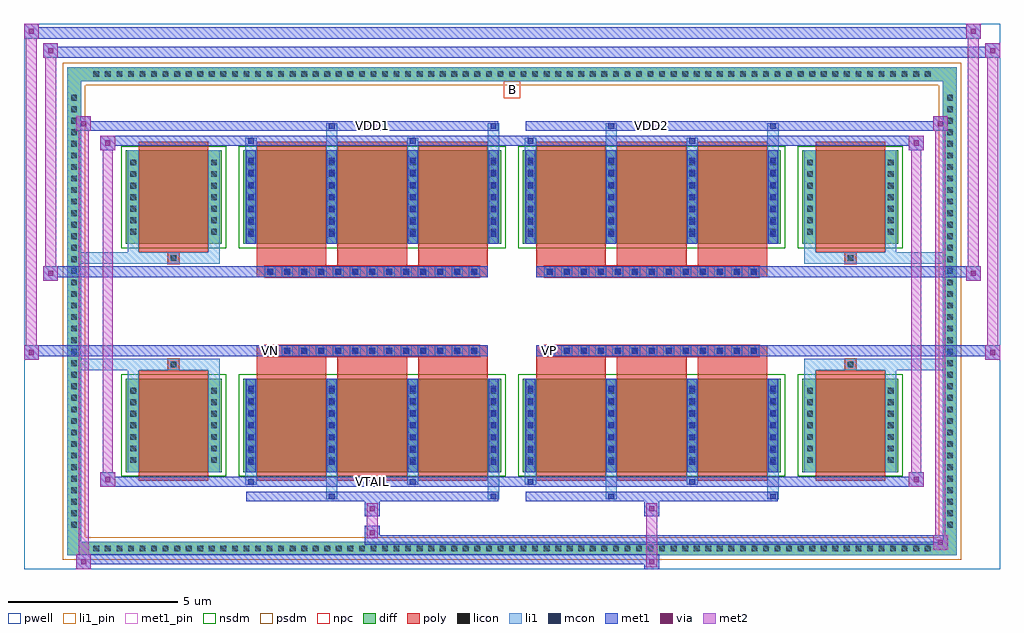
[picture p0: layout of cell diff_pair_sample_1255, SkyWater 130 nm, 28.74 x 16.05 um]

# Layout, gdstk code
import gdstk
lib = gdstk.Library(unit=1e-6, precision=5e-09)
def R(c, l, rs):  # rectangles x0, y0, x1, y1
    for r in rs: c.add(gdstk.rectangle(r[:2], r[2:], *l))
def A(c, l, x, y, w, h, nx, ny, dx, dy):  # array of equal rectangles
    R(c, l, [(x+i*dx, y+j*dy, x+i*dx+w, y+j*dy+h) for i in range(nx) for j in range(ny)])
def P(c, l, *ps):  # polygons
    for p in ps: c.add(gdstk.Polygon(p, *l))
pwell = (64, 44)
diff = (65, 20)
poly = (66, 20)
licon = (66, 44)
li1_pin = (67, 16)
li1 = (67, 20)
mcon = (67, 44)
met1_pin = (68, 16)
met1 = (68, 20)
via = (68, 44)
met2 = (69, 20)
nsdm = (93, 44)
psdm = (94, 20)
npc = (95, 20)

diff_pair_sample_1255 = lib.new_cell('diff_pair_sample_1255')
R(diff_pair_sample_1255, pwell, [(-14.37,-7.59,14.37,8.46), (-11.69,-5.78,-0.01,-0.8), (0.01,-5.78,11.69,-0.8), (-11.69,0.8,-0.01,5.78), (0.01,0.8,11.69,5.78)])
A(diff_pair_sample_1255, diff, -12.445, -7.19, 0.41, 0.41, 73, 2, 0.34, 13.97)
A(diff_pair_sample_1255, diff, -13.1, -6.495, 0.41, 0.41, 1, 38, 0, 0.34)
A(diff_pair_sample_1255, diff, 12.69, -6.495, 0.41, 0.41, 1, 38, 0, 0.34)
R(diff_pair_sample_1255, diff, [(-12.445,-7.19,12.445,-6.78), (-13.1,-6.495,-12.69,6.495), (12.69,-6.495,13.1,6.495), (-11.38,-4.735,-8.55,-1.985), (-7.91,-4.735,-0.32,-1.985), (0.32,-4.735,7.91,-1.985), (8.55,-4.735,11.38,-1.985), (-11.38,1.985,-8.55,4.735), (-7.91,1.985,-0.32,4.735), (0.32,1.985,7.91,4.735), (8.55,1.985,11.38,4.735), (-12.445,6.78,12.445,7.19)])
P(diff_pair_sample_1255, diff, [(13.1,7.19),(-13.1,7.19),(-13.1,-6.78),(-12.69,-6.78),(-12.69,6.78),(12.69,6.78),(12.69,-6.78),(-12.69,-6.78),(-13.1,-6.78),(-13.1,-7.19),(13.1,-7.19)])
A(diff_pair_sample_1255, poly, -7.52, -4.985, 2.05, 3.25, 3, 2, 2.38, 6.72)
A(diff_pair_sample_1255, poly, 0.71, -4.985, 2.05, 3.25, 3, 2, 2.38, 6.72)
A(diff_pair_sample_1255, poly, -7.52, -1.735, 2.05, 0.405, 3, 2, 2.38, 3.065)
A(diff_pair_sample_1255, poly, 0.71, -1.735, 2.05, 0.405, 3, 2, 2.38, 3.065)
A(diff_pair_sample_1255, poly, -7.28, -1.33, 0.33, 0.33, 13, 2, 0.5, 2.33)
A(diff_pair_sample_1255, poly, 0.95, -1.33, 0.33, 0.33, 13, 2, 0.5, 2.33)
R(diff_pair_sample_1255, poly, [(-10.99,-4.985,-8.94,-1.735), (8.94,-4.985,10.99,-1.735), (-10.13,-1.735,-9.8,-1.405), (-10.13,-1.735,-9.8,-1.405), (9.8,-1.735,10.13,-1.405), (9.8,-1.735,10.13,-1.405), (-7.52,-1.33,-0.71,-1), (0.71,-1.33,7.52,-1), (-7.52,1,-0.71,1.33), (0.71,1,7.52,1.33), (-10.13,1.405,-9.8,1.735), (-10.13,1.405,-9.8,1.735), (9.8,1.405,10.13,1.735), (9.8,1.405,10.13,1.735), (-10.99,1.735,-8.94,4.985), (8.94,1.735,10.99,4.985)])
A(diff_pair_sample_1255, licon, -12.325, -7.07, 0.17, 0.17, 73, 2, 0.34, 13.97)
A(diff_pair_sample_1255, licon, -12.98, -6.375, 0.17, 0.17, 1, 38, 0, 0.34)
A(diff_pair_sample_1255, licon, 12.81, -6.375, 0.17, 0.17, 1, 38, 0, 0.34)
A(diff_pair_sample_1255, licon, -11.24, -4.465, 0.17, 0.17, 1, 7, 0, 0.34)
A(diff_pair_sample_1255, licon, -8.86, -4.465, 0.17, 0.17, 1, 7, 0, 0.34)
A(diff_pair_sample_1255, licon, -7.77, -4.465, 0.17, 0.17, 4, 7, 2.38, 0.34)
A(diff_pair_sample_1255, licon, 0.46, -4.465, 0.17, 0.17, 4, 7, 2.38, 0.34)
A(diff_pair_sample_1255, licon, 8.69, -4.465, 0.17, 0.17, 1, 7, 0, 0.34)
A(diff_pair_sample_1255, licon, 11.07, -4.465, 0.17, 0.17, 1, 7, 0, 0.34)
A(diff_pair_sample_1255, licon, -7.2, -1.25, 0.17, 0.17, 13, 2, 0.5, 2.33)
A(diff_pair_sample_1255, licon, 1.03, -1.25, 0.17, 0.17, 13, 2, 0.5, 2.33)
A(diff_pair_sample_1255, licon, -11.24, 2.255, 0.17, 0.17, 1, 7, 0, 0.34)
A(diff_pair_sample_1255, licon, -8.86, 2.255, 0.17, 0.17, 1, 7, 0, 0.34)
A(diff_pair_sample_1255, licon, -7.77, 2.255, 0.17, 0.17, 4, 7, 2.38, 0.34)
A(diff_pair_sample_1255, licon, 0.46, 2.255, 0.17, 0.17, 4, 7, 2.38, 0.34)
A(diff_pair_sample_1255, licon, 8.69, 2.255, 0.17, 0.17, 1, 7, 0, 0.34)
A(diff_pair_sample_1255, licon, 11.07, 2.255, 0.17, 0.17, 1, 7, 0, 0.34)
R(diff_pair_sample_1255, licon, [(-10.05,-1.655,-9.88,-1.485), (9.88,-1.655,10.05,-1.485), (-10.05,1.485,-9.88,1.655), (9.88,1.485,10.05,1.655)])
R(diff_pair_sample_1255, li1_pin, [(-0.25,6.28,0.25,6.78)])
A(diff_pair_sample_1255, li1, -12.405, -7.15, 0.33, 0.33, 73, 2, 0.34, 13.97)
A(diff_pair_sample_1255, li1, -13.06, -6.455, 0.33, 0.33, 1, 38, 0, 0.34)
A(diff_pair_sample_1255, li1, 12.73, -6.455, 0.33, 0.33, 1, 38, 0, 0.34)
A(diff_pair_sample_1255, li1, -7.85, -4.735, 0.33, 2.75, 4, 2, 2.38, 6.72)
A(diff_pair_sample_1255, li1, 0.38, -4.735, 0.33, 2.75, 4, 2, 2.38, 6.72)
A(diff_pair_sample_1255, li1, -11.32, -4.545, 0.33, 0.33, 1, 7, 0, 0.34)
A(diff_pair_sample_1255, li1, -8.94, -4.545, 0.33, 0.33, 1, 7, 0, 0.34)
A(diff_pair_sample_1255, li1, -7.85, -4.545, 0.33, 0.33, 4, 7, 2.38, 0.34)
A(diff_pair_sample_1255, li1, 0.38, -4.545, 0.33, 0.33, 4, 7, 2.38, 0.34)
A(diff_pair_sample_1255, li1, 8.61, -4.545, 0.33, 0.33, 1, 7, 0, 0.34)
A(diff_pair_sample_1255, li1, 10.99, -4.545, 0.33, 0.33, 1, 7, 0, 0.34)
A(diff_pair_sample_1255, li1, -7.77, -4.525, 0.17, 0.17, 4, 7, 2.38, 0.36)
A(diff_pair_sample_1255, li1, -7.77, -4.525, 0.17, 2.33, 4, 2, 2.38, 6.72)
A(diff_pair_sample_1255, li1, 0.46, -4.525, 0.17, 0.17, 4, 7, 2.38, 0.36)
A(diff_pair_sample_1255, li1, 0.46, -4.525, 0.17, 2.33, 4, 2, 2.38, 6.72)
A(diff_pair_sample_1255, li1, -7.28, -1.33, 0.33, 0.33, 13, 2, 0.5, 2.33)
A(diff_pair_sample_1255, li1, 0.95, -1.33, 0.33, 0.33, 13, 2, 0.5, 2.33)
A(diff_pair_sample_1255, li1, -11.32, 2.175, 0.33, 0.33, 1, 7, 0, 0.34)
A(diff_pair_sample_1255, li1, -8.94, 2.175, 0.33, 0.33, 1, 7, 0, 0.34)
A(diff_pair_sample_1255, li1, -7.85, 2.175, 0.33, 0.33, 4, 7, 2.38, 0.34)
A(diff_pair_sample_1255, li1, 0.38, 2.175, 0.33, 0.33, 4, 7, 2.38, 0.34)
A(diff_pair_sample_1255, li1, 8.61, 2.175, 0.33, 0.33, 1, 7, 0, 0.34)
A(diff_pair_sample_1255, li1, 10.99, 2.175, 0.33, 0.33, 1, 7, 0, 0.34)
A(diff_pair_sample_1255, li1, -7.77, 2.195, 0.17, 0.17, 4, 7, 2.38, 0.36)
A(diff_pair_sample_1255, li1, 0.46, 2.195, 0.17, 0.17, 4, 7, 2.38, 0.36)
R(diff_pair_sample_1255, li1, [(-13.1,-7.19,-12.69,-6.78), (-13.1,-7.19,-12.69,-6.78), (-12.69,-7.19,12.69,-6.78), (12.69,-7.19,13.1,-6.78), (12.69,-7.19,13.1,-6.78), (-13.1,-6.78,-12.69,6.78), (12.69,-6.78,13.1,6.78), (-5.47,-5.54,-5.14,-4.735), (-5.39,-5.54,-5.22,-5.37), (-0.71,-5.54,-0.38,-4.735), (-0.63,-5.54,-0.46,-5.37), (2.76,-5.54,3.09,-4.735), (2.84,-5.54,3.01,-5.37), (7.52,-5.54,7.85,-4.735), (7.6,-5.54,7.77,-5.37), (-7.85,-5.11,-7.52,-4.735), (-7.77,-5.11,-7.6,-4.94), (-3.09,-5.11,-2.76,-4.735), (-3.01,-5.11,-2.84,-4.94), (0.38,-5.11,0.71,-4.735), (0.46,-5.11,0.63,-4.94), (5.14,-5.11,5.47,-4.735), (5.22,-5.11,5.39,-4.94), (-11.32,-4.735,-10.99,-1.985), (-8.94,-4.735,-8.61,-1.985), (8.61,-4.735,8.94,-1.985), (10.99,-4.735,11.32,-1.985), (-11.32,-1.985,-10.99,-1.405), (-8.94,-1.985,-8.61,-1.405), (8.61,-1.985,8.94,-1.405), (10.99,-1.985,11.32,-1.405), (-13.1,-1.735,-10.13,-1.405), (-11.32,-1.735,-10.13,-1.405), (-10.13,-1.735,-9.8,-1.405), (-9.8,-1.735,-8.61,-1.405), (8.61,-1.735,9.8,-1.405), (9.8,-1.735,10.13,-1.405), (9.8,-1.735,13.1,-1.405), (10.13,-1.735,11.32,-1.405), (-13.1,1.405,-10.13,1.735), (-11.32,1.405,-10.13,1.735), (-11.32,1.405,-10.99,1.985), (-10.13,1.405,-9.8,1.735), (-9.8,1.405,-8.61,1.735), (-8.94,1.405,-8.61,1.985), (8.61,1.405,9.8,1.735), (8.61,1.405,8.94,1.985), (9.8,1.405,10.13,1.735), (9.8,1.405,13.1,1.735), (10.13,1.405,11.32,1.735), (10.99,1.405,11.32,1.985), (-11.32,1.985,-10.99,4.735), (-8.94,1.985,-8.61,4.735), (8.61,1.985,8.94,4.735), (10.99,1.985,11.32,4.735), (-7.85,4.735,-7.52,5.11), (-5.47,4.735,-5.14,5.54), (-3.09,4.735,-2.76,5.11), (-0.71,4.735,-0.38,5.54), (0.38,4.735,0.71,5.11), (2.76,4.735,3.09,5.54), (5.14,4.735,5.47,5.11), (7.52,4.735,7.85,5.54), (-7.77,4.94,-7.6,5.11), (-3.01,4.94,-2.84,5.11), (0.46,4.94,0.63,5.11), (5.22,4.94,5.39,5.11), (-5.39,5.37,-5.22,5.54), (-0.63,5.37,-0.46,5.54), (2.84,5.37,3.01,5.54), (7.6,5.37,7.77,5.54), (-13.1,6.78,-12.69,7.19), (-13.1,6.78,-12.69,7.19), (-12.69,6.78,12.69,7.19), (12.69,6.78,13.1,7.19), (12.69,6.78,13.1,7.19)])
A(diff_pair_sample_1255, mcon, -7.77, -4.525, 0.17, 0.17, 4, 7, 2.38, 0.36)
A(diff_pair_sample_1255, mcon, 0.46, -4.525, 0.17, 0.17, 4, 7, 2.38, 0.36)
A(diff_pair_sample_1255, mcon, -7.2, -1.25, 0.17, 0.17, 13, 2, 0.5, 2.33)
A(diff_pair_sample_1255, mcon, 1.03, -1.25, 0.17, 0.17, 13, 2, 0.5, 2.33)
A(diff_pair_sample_1255, mcon, -7.77, 2.195, 0.17, 0.17, 4, 7, 2.38, 0.36)
A(diff_pair_sample_1255, mcon, 0.46, 2.195, 0.17, 0.17, 4, 7, 2.38, 0.36)
R(diff_pair_sample_1255, mcon, [(-5.39,-5.54,-5.22,-5.37), (-0.63,-5.54,-0.46,-5.37), (2.84,-5.54,3.01,-5.37), (7.6,-5.54,7.77,-5.37), (-7.77,-5.11,-7.6,-4.94), (-3.01,-5.11,-2.84,-4.94), (0.46,-5.11,0.63,-4.94), (5.22,-5.11,5.39,-4.94), (-7.77,4.94,-7.6,5.11), (-3.01,4.94,-2.84,5.11), (0.46,4.94,0.63,5.11), (5.22,4.94,5.39,5.11), (-5.39,5.37,-5.22,5.54), (-0.63,5.37,-0.46,5.54), (2.84,5.37,3.01,5.54), (7.6,5.37,7.77,5.54)])
R(diff_pair_sample_1255, met1_pin, [(-4.25,-5.15,-3.98,-4.88), (-7.25,-1.29,-6.98,-1.02), (0.98,-1.29,1.25,-1.02), (-4.25,5.33,-3.98,5.6), (3.98,5.33,4.25,5.6)])
A(diff_pair_sample_1255, met1, -7.83, -4.735, 0.29, 2.75, 4, 2, 2.38, 6.72)
A(diff_pair_sample_1255, met1, 0.4, -4.735, 0.29, 2.75, 4, 2, 2.38, 6.72)
A(diff_pair_sample_1255, met1, -7.83, -4.585, 0.29, 0.29, 4, 7, 2.38, 0.36)
A(diff_pair_sample_1255, met1, 0.4, -4.585, 0.29, 0.29, 4, 7, 2.38, 0.36)
A(diff_pair_sample_1255, met1, -7.26, -1.31, 0.29, 0.29, 13, 2, 0.5, 2.33)
A(diff_pair_sample_1255, met1, 0.97, -1.31, 0.29, 0.29, 13, 2, 0.5, 2.33)
A(diff_pair_sample_1255, met1, -7.83, 2.135, 0.29, 0.29, 4, 7, 2.38, 0.36)
A(diff_pair_sample_1255, met1, 0.4, 2.135, 0.29, 0.29, 4, 7, 2.38, 0.36)
R(diff_pair_sample_1255, met1, [(-12.83,-7.59,-12.4,-7.16), (3.9,-7.59,4.33,-7.16), (-12.83,-7.45,4.33,-7.16), (12.4,-7.02,12.83,-6.59), (-4.33,-6.88,12.83,-6.59), (-4.33,-6.74,-3.9,-6.31), (-4.33,-6.03,-3.9,-5.6), (3.9,-6.03,4.33,-5.6), (-7.83,-5.6,-0.4,-5.31), (-5.45,-5.6,-5.16,-5.31), (-0.69,-5.6,-0.4,-5.31), (0.4,-5.6,7.83,-5.31), (2.78,-5.6,3.07,-5.31), (7.54,-5.6,7.83,-5.31), (-12.12,-5.17,-11.69,-4.74), (-12.12,-5.17,-7.83,-4.88), (-7.83,-5.17,-7.54,-4.88), (-7.83,-5.17,-0.4,-4.88), (-3.07,-5.17,-2.78,-4.88), (-0.4,-5.17,0.4,-4.88), (0.4,-5.17,0.69,-4.88), (0.4,-5.17,7.83,-4.88), (5.16,-5.17,5.45,-4.88), (7.83,-5.17,12.12,-4.88), (11.69,-5.17,12.12,-4.74), (-14.37,-1.43,-13.94,-1), (13.94,-1.43,14.37,-1), (-14.37,-1.33,-0.71,-1), (-7.52,-1.33,-0.71,-1), (0.71,-1.33,7.52,-1), (0.71,-1.33,14.37,-1), (-13.8,0.9,-13.37,1.33), (13.37,0.9,13.8,1.33), (-13.8,1,-7.52,1.33), (-7.52,1,-0.71,1.33), (0.71,1,7.52,1.33), (7.52,1,13.8,1.33), (-12.12,4.74,-11.69,5.17), (11.69,4.74,12.12,5.17), (-12.12,4.88,-7.83,5.17), (-7.83,4.88,-7.54,5.17), (-7.83,4.88,-0.4,5.17), (-3.07,4.88,-2.78,5.17), (-0.4,4.88,0.4,5.17), (0.4,4.88,0.69,5.17), (0.4,4.88,7.83,5.17), (5.16,4.88,5.45,5.17), (7.83,4.88,12.12,5.17), (-12.83,5.31,-12.4,5.74), (-12.83,5.31,-7.83,5.6), (-7.83,5.31,-0.4,5.6), (-5.45,5.31,-5.16,5.6), (-0.69,5.31,-0.4,5.6), (0.4,5.31,7.83,5.6), (2.78,5.31,3.07,5.6), (7.54,5.31,7.83,5.6), (7.83,5.31,12.83,5.6), (12.4,5.31,12.83,5.74), (-13.8,7.46,-13.37,7.89), (-13.8,7.46,-11.69,7.79), (-11.69,7.46,11.69,7.79), (11.69,7.46,14.37,7.79), (13.94,7.46,14.37,7.89), (-14.37,8.03,-13.94,8.46), (-14.37,8.03,-11.69,8.36), (-11.69,8.03,11.69,8.36), (11.69,8.03,13.8,8.36), (13.37,8.03,13.8,8.46)])
R(diff_pair_sample_1255, via, [(-12.69,-7.45,-12.54,-7.3), (4.04,-7.45,4.19,-7.3), (12.54,-6.88,12.69,-6.73), (-4.19,-6.6,-4.04,-6.45), (-4.19,-5.89,-4.04,-5.74), (4.04,-5.89,4.19,-5.74), (-11.98,-5.03,-11.83,-4.88), (11.83,-5.03,11.98,-4.88), (-14.23,-1.29,-14.08,-1.14), (14.08,-1.29,14.23,-1.14), (-13.66,1.04,-13.51,1.19), (13.51,1.04,13.66,1.19), (-11.98,4.88,-11.83,5.03), (11.83,4.88,11.98,5.03), (-12.69,5.45,-12.54,5.6), (12.54,5.45,12.69,5.6), (-13.66,7.6,-13.51,7.75), (14.08,7.6,14.23,7.75), (-14.23,8.17,-14.08,8.32), (13.51,8.17,13.66,8.32)])
R(diff_pair_sample_1255, met2, [(-12.83,-7.59,-12.4,-7.16), (-12.76,-7.59,-12.47,5.74), (-12.47,-7.59,-12.4,-7.16), (-12.78,-7.54,-12.45,-7.21), (3.95,-7.54,4.28,-7.21), (3.95,-7.21,4.28,-5.98), (12.4,-7.02,12.83,-6.59), (12.47,-7.02,12.76,5.74), (12.76,-7.02,12.83,-6.59), (12.45,-6.97,12.78,-6.64), (-4.28,-6.69,-3.95,-6.36), (-4.28,-6.36,-3.95,-5.98), (-4.28,-5.98,-3.95,-5.65), (3.95,-5.98,4.28,-5.65), (-12.12,-5.17,-11.69,-4.74), (-12.05,-5.17,-11.76,5.17), (-11.76,-5.17,-11.69,-4.74), (11.69,-5.17,12.12,-4.74), (11.76,-5.17,12.05,5.17), (12.05,-5.17,12.12,-4.74), (-12.07,-5.12,-11.74,-4.79), (11.74,-5.12,12.07,-4.79), (-14.37,-1.43,-13.94,-1), (-14.32,-1.43,-13.99,8.46), (-13.99,-1.43,-13.94,-1), (13.94,-1.43,14.37,-1), (13.99,-1.43,14.32,7.89), (14.32,-1.43,14.37,-1), (-14.32,-1.38,-13.99,-1.05), (13.99,-1.38,14.32,-1.05), (-13.8,0.9,-13.37,1.33), (-13.75,0.9,-13.42,7.89), (-13.42,0.9,-13.37,1.33), (13.37,0.9,13.8,1.33), (13.42,0.9,13.75,8.46), (13.75,0.9,13.8,1.33), (-13.75,0.95,-13.42,1.28), (13.42,0.95,13.75,1.28), (-12.12,4.74,-11.69,5.17), (-11.76,4.74,-11.69,5.17), (11.69,4.74,12.12,5.17), (12.05,4.74,12.12,5.17), (-12.07,4.79,-11.74,5.12), (11.74,4.79,12.07,5.12), (-12.83,5.31,-12.4,5.74), (-12.47,5.31,-12.4,5.74), (12.4,5.31,12.83,5.74), (12.76,5.31,12.83,5.74), (-12.78,5.36,-12.45,5.69), (12.45,5.36,12.78,5.69), (-13.8,7.46,-13.37,7.89), (-13.42,7.46,-13.37,7.89), (13.94,7.46,14.37,7.89), (14.32,7.46,14.37,7.89), (-13.75,7.51,-13.42,7.84), (13.99,7.51,14.32,7.84), (-14.37,8.03,-13.94,8.46), (-13.99,8.03,-13.94,8.46), (13.37,8.03,13.8,8.46), (13.75,8.03,13.8,8.46), (-14.32,8.08,-13.99,8.41), (13.42,8.08,13.75,8.41)])
R(diff_pair_sample_1255, nsdm, [(-11.51,-4.865,-8.42,-1.855), (-8.04,-4.865,-0.19,-1.855), (0.19,-4.865,8.04,-1.855), (8.42,-4.865,11.51,-1.855), (-11.51,1.855,-8.42,4.865), (-8.04,1.855,-0.19,4.865), (0.19,1.855,8.04,4.865), (8.42,1.855,11.51,4.865)])
P(diff_pair_sample_1255, psdm, [(13.23,7.32),(-13.23,7.32),(-13.23,-6.65),(-12.56,-6.65),(-12.56,6.65),(12.56,6.65),(12.56,-6.65),(-12.56,-6.65),(-13.23,-6.65),(-13.23,-7.32),(13.23,-7.32)])
A(diff_pair_sample_1255, npc, -7.3, -1.35, 0.37, 0.37, 13, 2, 0.5, 2.33)
A(diff_pair_sample_1255, npc, 0.93, -1.35, 0.37, 0.37, 13, 2, 0.5, 2.33)
R(diff_pair_sample_1255, npc, [(-10.15,-1.755,-9.78,-1.385), (9.78,-1.755,10.15,-1.385), (-7.3,-1.35,-6.43,-0.98), (-7.3,-1.35,-6.43,-0.98), (-6.8,-1.35,-5.93,-0.98), (-6.8,-1.35,-5.93,-0.98), (-6.3,-1.35,-5.43,-0.98), (-6.3,-1.35,-5.43,-0.98), (-5.8,-1.35,-4.93,-0.98), (-5.8,-1.35,-4.93,-0.98), (-5.3,-1.35,-4.43,-0.98), (-5.3,-1.35,-4.43,-0.98), (-4.8,-1.35,-3.93,-0.98), (-4.8,-1.35,-3.93,-0.98), (-4.3,-1.35,-3.43,-0.98), (-4.3,-1.35,-3.43,-0.98), (-3.8,-1.35,-2.93,-0.98), (-3.8,-1.35,-2.93,-0.98), (-3.3,-1.35,-2.43,-0.98), (-3.3,-1.35,-2.43,-0.98), (-2.8,-1.35,-1.93,-0.98), (-2.8,-1.35,-1.93,-0.98), (-2.3,-1.35,-1.43,-0.98), (-2.3,-1.35,-1.43,-0.98), (-1.8,-1.35,-0.93,-0.98), (-1.8,-1.35,-0.93,-0.98), (0.93,-1.35,1.8,-0.98), (0.93,-1.35,1.8,-0.98), (1.43,-1.35,2.3,-0.98), (1.43,-1.35,2.3,-0.98), (1.93,-1.35,2.8,-0.98), (1.93,-1.35,2.8,-0.98), (2.43,-1.35,3.3,-0.98), (2.43,-1.35,3.3,-0.98), (2.93,-1.35,3.8,-0.98), (2.93,-1.35,3.8,-0.98), (3.43,-1.35,4.3,-0.98), (3.43,-1.35,4.3,-0.98), (3.93,-1.35,4.8,-0.98), (3.93,-1.35,4.8,-0.98), (4.43,-1.35,5.3,-0.98), (4.43,-1.35,5.3,-0.98), (4.93,-1.35,5.8,-0.98), (4.93,-1.35,5.8,-0.98), (5.43,-1.35,6.3,-0.98), (5.43,-1.35,6.3,-0.98), (5.93,-1.35,6.8,-0.98), (5.93,-1.35,6.8,-0.98), (6.43,-1.35,7.3,-0.98), (6.43,-1.35,7.3,-0.98), (-7.3,0.98,-6.43,1.35), (-7.3,0.98,-6.43,1.35), (-6.8,0.98,-5.93,1.35), (-6.8,0.98,-5.93,1.35), (-6.3,0.98,-5.43,1.35), (-6.3,0.98,-5.43,1.35), (-5.8,0.98,-4.93,1.35), (-5.8,0.98,-4.93,1.35), (-5.3,0.98,-4.43,1.35), (-5.3,0.98,-4.43,1.35), (-4.8,0.98,-3.93,1.35), (-4.8,0.98,-3.93,1.35), (-4.3,0.98,-3.43,1.35), (-4.3,0.98,-3.43,1.35), (-3.8,0.98,-2.93,1.35), (-3.8,0.98,-2.93,1.35), (-3.3,0.98,-2.43,1.35), (-3.3,0.98,-2.43,1.35), (-2.8,0.98,-1.93,1.35), (-2.8,0.98,-1.93,1.35), (-2.3,0.98,-1.43,1.35), (-2.3,0.98,-1.43,1.35), (-1.8,0.98,-0.93,1.35), (-1.8,0.98,-0.93,1.35), (0.93,0.98,1.8,1.35), (0.93,0.98,1.8,1.35), (1.43,0.98,2.3,1.35), (1.43,0.98,2.3,1.35), (1.93,0.98,2.8,1.35), (1.93,0.98,2.8,1.35), (2.43,0.98,3.3,1.35), (2.43,0.98,3.3,1.35), (2.93,0.98,3.8,1.35), (2.93,0.98,3.8,1.35), (3.43,0.98,4.3,1.35), (3.43,0.98,4.3,1.35), (3.93,0.98,4.8,1.35), (3.93,0.98,4.8,1.35), (4.43,0.98,5.3,1.35), (4.43,0.98,5.3,1.35), (4.93,0.98,5.8,1.35), (4.93,0.98,5.8,1.35), (5.43,0.98,6.3,1.35), (5.43,0.98,6.3,1.35), (5.93,0.98,6.8,1.35), (5.93,0.98,6.8,1.35), (6.43,0.98,7.3,1.35), (6.43,0.98,7.3,1.35), (-10.15,1.385,-9.78,1.755), (9.78,1.385,10.15,1.755)])
diff_pair_sample_1255.add(gdstk.Label('VTAIL', (-4.115,-5.015), layer=68, texttype=5))
diff_pair_sample_1255.add(gdstk.Label('VN', (-7.115,-1.155), layer=68, texttype=5))
diff_pair_sample_1255.add(gdstk.Label('VP', (1.115,-1.155), layer=68, texttype=5))
diff_pair_sample_1255.add(gdstk.Label('B', (0,6.53), layer=67, texttype=5))
diff_pair_sample_1255.add(gdstk.Label('VDD2', (4.115,5.465), layer=68, texttype=5))
diff_pair_sample_1255.add(gdstk.Label('VDD1', (-4.115,5.465), layer=68, texttype=5))

lib.write_gds('diff_pair_sample_1255.gds')
